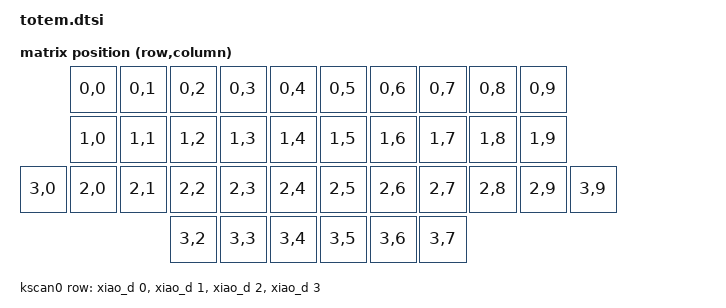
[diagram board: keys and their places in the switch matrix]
/*
 * Copyright (c) 2022 The ZMK Contributors
 *
 * SPDX-License-Identifier: MIT
 */
#include "totem-layouts.dtsi"
#include <dt-bindings/zmk/matrix_transform.h>

/ {
    chosen {
        zmk,physical-layout = &direct_physical_layout;
        zmk,kscan = &kscan0;
    };

    default_transform: keymap_transform_0 {
        compatible = "zmk,matrix-transform";
        columns = <10>;
        rows = <4>;
        map = <
                RC(0,0) RC(0,1) RC(0,2) RC(0,3) RC(0,4)    RC(0,5) RC(0,6) RC(0,7) RC(0,8) RC(0,9)
                RC(1,0) RC(1,1) RC(1,2) RC(1,3) RC(1,4)    RC(1,5) RC(1,6) RC(1,7) RC(1,8) RC(1,9)
        RC(3,0) RC(2,0) RC(2,1) RC(2,2) RC(2,3) RC(2,4)    RC(2,5) RC(2,6) RC(2,7) RC(2,8) RC(2,9) RC(3,9)
                                RC(3,2) RC(3,3) RC(3,4)    RC(3,5) RC(3,6) RC(3,7)
        >;
    };

    /* Define a local layout that strictly follows our transform */
    direct_physical_layout: direct_physical_layout {
        compatible = "zmk,physical-layout";
        display-name = "Totem Direct";
        transform = <&default_transform>;
        kscan = <&kscan0>;
        
        /* * We link to the keys from the included totem-layouts.dtsi 
         * but by defining a new physical-layout node here with our 
         * transform, we force ZMK to respect our mapping order.
         */
        keys = <&totem_layout_keys>; 
    };

    kscan0: kscan_0 {
        compatible = "zmk,kscan-gpio-matrix";
        label = "KSCAN";
        
        diode-direction = "col2row"; 
        row-gpios
            = <&xiao_d 0 (GPIO_ACTIVE_HIGH | GPIO_PULL_DOWN)>
            , <&xiao_d 1 (GPIO_ACTIVE_HIGH | GPIO_PULL_DOWN)>
            , <&xiao_d 2 (GPIO_ACTIVE_HIGH | GPIO_PULL_DOWN)>
            , <&xiao_d 3 (GPIO_ACTIVE_HIGH | GPIO_PULL_DOWN)>
            ;
    };
};

/* Ensure the layout node has the transform reference as a backup */
&totem_layout {
    transform = <&default_transform>;
};
